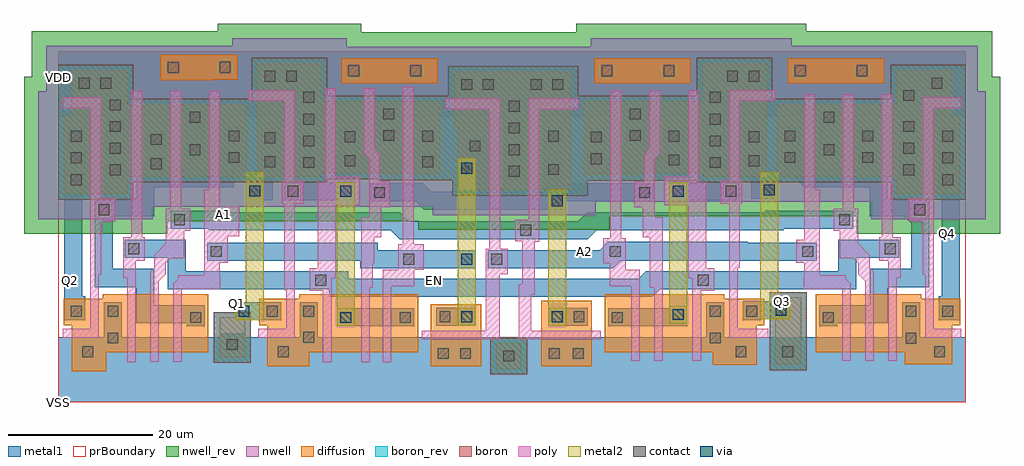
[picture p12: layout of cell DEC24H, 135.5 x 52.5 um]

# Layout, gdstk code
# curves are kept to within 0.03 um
import gdstk
lib = gdstk.Library(unit=1e-6, precision=1e-09)
def R(c, l, rs):  # rectangles x0, y0, x1, y1
    for r in rs: c.add(gdstk.rectangle(r[:2], r[2:], *l))
def A(c, l, x, y, w, h, nx, ny, dx, dy):  # array of equal rectangles
    R(c, l, [(x+i*dx, y+j*dy, x+i*dx+w, y+j*dy+h) for i in range(nx) for j in range(ny)])
def P(c, l, *ps):  # polygons
    for p in ps: c.add(gdstk.Polygon(p, *l))
nwell = (1, 0)
diffusion = (2, 0)
nwell_rev = (3, 0)
poly = (4, 0)
boron = (5, 0)
boron_rev = (6, 0)
contact = (7, 0)
metal1 = (8, 0)
via = (9, 0)
metal2 = (10, 0)
prBoundary = (28, 0)

dec24h = lib.new_cell('DEC24H')
P(dec24h, nwell, [(-2.75,25.4),(-2.75,43.15),(-1.65,43.15),(-1.65,49.5),(24.15,49.5),(24.15,50.5),(40.05,50.5),(40.05,49.35),(73.9,49.35),(73.9,50.5),(101.85,50.5),(101.85,49.5),(127.65,49.5),(127.65,43.15),(128.75,43.15),(128.75,25.4),(112.85,25.4),(112.85,27.8),(74.6,27.8),(74.6,25.95),(52,25.95),(52,27.1),(13.15,27.1),(13.15,25.4)])
R(dec24h, diffusion, [(60.8,4.65,64.3,8.15), (51.7,5,58.7,13.6), (67.05,5,74.05,14.1), (99.55,5.25,103.15,14.55), (22.4,6.25,25.95,11.75), (39.3,44.25,52.7,47.75), (74.45,44.25,87.85,47.75), (101.25,44.25,114.65,47.75)])
P(dec24h, diffusion, [(117.55,5.25),(117.55,6.95),(105.15,6.95),(105.15,14.95),(119.85,14.95),(119.85,14.35),(125.25,14.35),(125.25,10.65),(124.15,10.65),(124.15,5.25)],
  [(1.85,4.25),(1.85,10.65),(0.75,10.65),(0.75,14.35),(6.15,14.35),(6.15,14.95),(20.85,14.95),(20.85,6.95),(6.65,6.95),(6.65,4.25)],
  [(14.2,44.7),(14.2,48.2),(21.05,48.2),(21.05,48.25),(24.9,48.25),(24.9,44.75),(21.45,44.75),(21.45,44.7)],
  [(0.75,28.9),(0.75,39.65),(1.85,39.65),(1.85,46),(9.65,46),(9.65,41.3),(26.15,41.3),(26.15,31.3),(9.65,31.3),(9.65,28.9)],
  [(29,4.95),(29,10.65),(27.9,10.65),(27.9,14.35),(33.45,14.35),(33.45,14.95),(49.95,14.95),(49.95,6.95),(34.85,6.95),(34.85,4.95)],
  [(27.65,31.3),(27.65,47),(36.55,47),(36.55,41.75),(53.05,41.75),(53.05,31.6),(45.2,31.6),(45.2,31.75),(36.55,31.75),(36.55,31.3)],
  [(55.5,29.45),(55.5,38.25),(54.95,38.25),(54.95,45.85),(71.1,45.85),(71.1,29.45)],
  [(90.85,5.2),(90.85,6.95),(75.85,6.95),(75.85,14.95),(92.45,14.95),(92.45,14.35),(98.05,14.35),(98.05,10.65),(97,10.65),(97,5.2)],
  [(89.45,31.3),(89.45,31.75),(80.8,31.75),(80.8,31.55),(72.95,31.55),(72.95,41.75),(89.45,41.75),(89.45,47),(98.35,47),(98.35,31.3)],
  [(116.35,28.9),(116.35,31.3),(99.85,31.3),(99.85,41.3),(116.35,41.3),(116.35,46),(124.15,46),(124.15,39.65),(125.25,39.65),(125.25,28.9)])
P(dec24h, nwell_rev, [(-4.75,23.4),(-4.75,45.15),(-3.65,45.15),(-3.65,51.5),(22.15,51.5),(22.15,52.5),(42.05,52.5),(42.05,51.35),(71.9,51.35),(71.9,52.5),(103.85,52.5),(103.85,51.5),(129.65,51.5),(129.65,45.15),(130.75,45.15),(130.75,23.4),(110.85,23.4),(110.85,25.8),(76.6,25.8),(76.6,23.95),(50,23.95),(50,25.1),(15.15,25.1),(15.15,23.4)])
P(dec24h, poly, [(115.25,5.75),(115.25,19.65),(114,19.65),(114,22.85),(114.35,22.85),(114.35,42.75),(115.85,42.75),(115.85,22.85),(117,22.85),(117,17.25),(116.45,17.25),(116.45,5.75)],
  [(0.65,8.95),(0.65,10.15),(4.45,10.15),(4.45,40.8),(0.65,40.8),(0.65,42.3),(5.95,42.3),(5.95,28.3),(7.95,28.3),(7.95,25.1),(5.95,25.1),(5.95,17.65),(5.65,17.65),(5.65,8.95)],
  [(9.55,5.5),(9.55,17.25),(9,17.25),(9,22.85),(10.15,22.85),(10.15,43.25),(11.65,43.25),(11.65,22.85),(12,22.85),(12,19.65),(10.75,19.65),(10.75,5.5)],
  [(42.05,5.55),(42.05,25.65),(43.15,25.65),(43.15,33.765),(42.45,34.599),(42.45,43.55),(43.95,43.55),(43.95,35.15),(44.65,34.316),(44.65,30.65),(46.05,30.65),(46.05,27.05),(44.85,27.05),(44.85,22.85),(43.85,22.85),(43.85,19.3),(43.7,19.3),(43.7,15.85),(43.25,15.85),(43.25,5.55)],
  [(15.95,5.6),(15.95,16.45),(16.65,17.15),(16.65,17.6),(20.25,17.6),(20.25,29.45),(20.95,29.45),(20.95,43.25),(22.45,43.25),(22.45,27.15),(25.15,27.15),(25.15,23.05),(23.55,23.05),(23.55,19.35),(22.45,19.35),(22.5,15.75),(17.25,15.75),(17.15,15.65),(17.15,5.6)],
  [(27.75,8.95),(27.75,10.15),(31.65,10.15),(31.65,15.55),(31.35,15.55),(31.35,27.5),(31.1,27.5),(31.1,30.75),(31.35,30.75),(31.35,41.8),(26.45,41.8),(26.45,43.3),(32.85,43.3),(32.85,30.75),(34.1,30.75),(34.1,27.5),(32.85,27.5),(32.85,8.95)],
  [(36.75,5.55),(36.75,15.45),(34.95,15.45),(34.95,18.55),(36,18.55),(36,30.55),(37.05,30.55),(37.05,43.6),(38.55,43.6),(38.55,31.25),(41.85,31.25),(41.85,27.3),(38.55,27.3),(38.55,17.2),(37.95,17.2),(37.95,5.55)],
  [(82.75,5.75),(82.75,15.85),(82.15,15.85),(82.15,22.85),(81.15,22.85),(81.15,27.05),(79.95,27.05),(79.95,30.65),(81.35,30.65),(81.35,34.311),(82.05,35.145),(82.05,43.25),(83.55,43.25),(83.55,34.585),(82.85,33.751),(82.85,25.65),(83.95,25.65),(83.95,5.75)],
  [(45.05,5.55),(45.05,18.35),(47.2,18.35),(47.2,21.9),(47.85,21.9),(47.85,43.75),(49.35,43.75),(49.35,21.9),(50.75,21.9),(50.75,18.4),(49.4,18.4),(49.4,16.1),(46.25,16.1),(46.25,5.55)],
  [(50.5,8.7),(50.5,9.9),(59.35,9.9),(59.35,21.3),(59.85,21.3),(59.85,40.65),(53.75,40.65),(53.75,42.15),(61.35,42.15),(61.35,21.3),(62.4,21.3),(62.4,17.75),(61.3,17.75),(61.3,8.7)],
  [(63.95,8.7),(63.95,16.35),(64.45,16.35),(64.45,22.3),(63.45,22.3),(63.45,25.3),(65.3,25.3),(65.3,42.15),(72.3,42.15),(72.3,40.65),(66.8,40.65),(66.8,22.25),(66.15,22.25),(66.15,14.9),(65.65,14.9),(65.65,9.9),(75.3,9.9),(75.3,8.7)],
  [(79.55,5.75),(79.55,16.1),(76.6,16.1),(76.6,19.25),(75.65,19.25),(75.65,22.75),(76.65,22.75),(76.65,43.25),(78.15,43.25),(78.15,22.75),(78.8,22.75),(78.8,18.35),(80.75,18.35),(80.75,5.75)],
  [(120.35,8.95),(120.35,17.65),(120.05,17.65),(120.05,25.1),(118.05,25.1),(118.05,28.3),(120.05,28.3),(120.05,42.3),(125.35,42.3),(125.35,40.8),(121.55,40.8),(121.55,10.15),(125.35,10.15),(125.35,8.95)],
  [(88.05,5.75),(88.05,17.2),(87.45,17.2),(87.45,27.3),(84.15,27.3),(84.15,31.25),(87.45,31.25),(87.45,43.3),(88.95,43.3),(88.95,30.55),(90,30.55),(90,18.55),(91.05,18.55),(91.05,15.45),(89.25,15.45),(89.25,5.75)],
  [(93.15,8.95),(93.15,27.5),(91.9,27.5),(91.9,30.75),(93.15,30.75),(93.15,43.3),(99.55,43.3),(99.55,41.8),(94.65,41.8),(94.65,30.75),(94.9,30.75),(94.9,27.5),(94.65,27.5),(94.65,18.65),(94.35,18.65),(94.35,10.15),(98.6,10.15),(98.6,8.95)],
  [(108.85,5.75),(108.85,15.65),(108.75,15.75),(103.5,15.75),(103.55,19.35),(102.45,19.35),(102.45,22.55),(103.55,22.55),(103.55,42.75),(105.05,42.75),(105.05,29.45),(105.75,29.45),(105.75,17.6),(109.35,17.6),(109.35,17.15),(110.05,16.45),(110.05,5.75)],
  [(112.05,5.75),(112.05,16.798),(111.1,17.748),(111.1,19.3),(110.4,20),(108.5,20),(108.5,23.8),(107.65,23.8),(107.65,26.85),(108.95,26.85),(108.95,42.75),(110.45,42.75),(110.45,26.85),(111.05,26.85),(111.05,22.05),(112.7,20.4),(112.7,18.65),(113.25,18.1),(113.25,5.75)],
  [(12.75,5.6),(12.75,18.1),(13.3,18.65),(13.3,20.4),(14.95,22.05),(14.95,26.85),(15.55,26.85),(15.55,43.25),(17.05,43.25),(17.05,26.85),(18.35,26.85),(18.35,23.8),(17.5,23.8),(17.5,20),(15.6,20),(14.9,19.3),(14.9,17.748),(13.95,16.798),(13.95,5.6)])
R(dec24h, boron, [(60,3.85,65.1,8.95), (98.75,4.45,103.9,15.25), (21.6,5.45,26.75,12.5)])
P(dec24h, boron, [(0,28.1),(0,46.8),(10.45,46.8),(10.45,42.1),(26.85,42.1),(26.85,47.8),(37.35,47.8),(37.35,42.55),(54.15,42.55),(54.15,46.65),(72.2,46.65),(72.2,42.55),(88.65,42.55),(88.65,47.8),(99.15,47.8),(99.15,42.1),(115.55,42.1),(115.55,46.8),(126,46.8),(126,28.1),(115.55,28.1),(115.55,30.5),(88.65,30.5),(88.65,30.75),(73.55,30.75),(73.55,28.65),(54.7,28.65),(54.7,30.8),(44.4,30.8),(44.4,30.95),(37.35,30.95),(37.35,30.5),(10.45,30.5),(10.45,28.1)])
R(dec24h, boron_rev, [(60,3.85,65.1,8.95), (98.75,4.45,103.9,15.25), (21.6,5.45,26.75,12.5)])
P(dec24h, boron_rev, [(0,28.1),(0,46.8),(10.45,46.8),(10.45,42.1),(26.85,42.1),(26.85,47.8),(37.35,47.8),(37.35,42.55),(54.15,42.55),(54.15,46.65),(72.2,46.65),(72.2,42.55),(88.65,42.55),(88.65,47.8),(99.15,47.8),(99.15,42.1),(115.55,42.1),(115.55,46.8),(126,46.8),(126,28.1),(115.55,28.1),(115.55,30.5),(88.65,30.5),(88.65,30.75),(73.55,30.75),(73.55,28.65),(54.7,28.65),(54.7,30.8),(44.4,30.8),(44.4,30.95),(37.35,30.95),(37.35,30.5),(10.45,30.5),(10.45,28.1)])
A(dec24h, contact, 62.55, 31.3, 1.5, 1.5, 1, 4, 0, 3)
A(dec24h, contact, 7.15, 31.5, 1.5, 1.5, 1, 4, 0, 3)
A(dec24h, contact, 117.35, 31.5, 1.5, 1.5, 1, 3, 0, 3)
A(dec24h, contact, 34.05, 32.5, 1.5, 1.5, 1, 3, 0, 3)
A(dec24h, contact, 90.45, 32.5, 1.5, 1.5, 1, 3, 0, 3)
R(dec24h, contact, [(61.8,5.65,63.3,7.15), (52.7,6,54.2,7.5), (55.8,6,57.3,7.5), (68.1,6,69.6,7.5), (71.45,6,72.95,7.5), (3.35,6.25,4.85,7.75), (30.5,6.25,32,7.75), (94.05,6.25,95.55,7.75), (100.55,6.25,102.05,7.75), (121.6,6.25,123.1,7.75), (23.4,7.25,24.9,8.75), (117.65,8.1,119.15,9.6), (6.85,8.15,8.35,9.65), (90.45,8.15,91.95,9.65), (34.05,8.25,35.55,9.75), (18.35,11,19.85,12.5), (47.45,11,48.95,12.5), (76.85,11,78.35,12.5), (106.15,11,107.65,12.5), (52.95,11.1,54.45,12.6), (71.55,11.1,73.05,12.6), (1.75,11.85,3.25,13.35), (6.85,11.85,8.35,13.35), (28.95,11.85,30.45,13.35), (34.05,11.85,35.55,13.35), (90.45,11.85,91.95,13.35), (95.55,11.85,97.05,13.35), (117.65,11.85,119.15,13.35), (122.75,11.85,124.25,13.35), (35.7,16.15,37.2,17.65), (88.8,16.15,90.3,17.65), (47.9,19.1,49.4,20.6), (60.15,19.1,61.65,20.6), (21.2,20.15,22.7,21.65), (76.6,20.15,78.1,21.65), (103.3,20.15,104.8,21.65), (9.75,20.55,11.25,22.05), (114.75,20.55,116.25,22.05), (64.15,23.1,65.65,24.6), (16.1,24.55,17.6,26.05), (108.4,24.55,109.9,26.05), (5.6,25.95,7.1,27.45), (118.85,25.95,120.35,27.45), (43.85,28.35,45.35,29.85), (80.65,28.35,82.15,29.85), (31.85,28.5,33.35,30), (92.65,28.5,94.15,30), (1.75,30.1,3.25,31.6), (122.75,30.1,124.25,31.6), (68,31.55,69.5,33.05), (12.85,32.35,14.35,33.85), (28.65,32.6,30.15,34.1), (50.55,32.6,52.05,34.1), (39.75,32.75,41.25,34.25), (95.85,32.75,97.35,34.25), (84.75,32.85,86.25,34.35), (73.95,33.05,75.45,34.55), (1.75,33.15,3.25,34.65), (122.75,33.15,124.25,34.65), (23.65,33.2,25.15,34.7), (100.85,33.2,102.35,34.7), (111.65,33.2,113.15,34.7), (18.25,34.3,19.75,35.8), (106.25,34.3,107.75,35.8), (57.1,34.8,58.6,36.3), (12.85,35.7,14.35,37.2), (28.65,35.95,30.15,37.45), (73.95,36.05,75.45,37.55), (39.75,36.1,41.25,37.6), (95.85,36.1,97.35,37.6), (1.75,36.15,3.25,37.65), (50.55,36.15,52.05,37.65), (68,36.15,69.5,37.65), (84.75,36.15,86.25,37.65), (122.75,36.15,124.25,37.65), (23.65,36.2,25.15,37.7), (100.85,36.2,102.35,37.7), (111.65,36.2,113.15,37.7), (45.15,36.25,46.65,37.75), (79.35,36.25,80.85,37.75), (18.25,38.8,19.75,40.3), (106.25,38.8,107.75,40.3), (45.15,39.25,46.65,40.75), (79.35,39.25,80.85,40.75), (34.05,41.55,35.55,43.05), (90.45,41.55,91.95,43.05), (117.35,41.8,118.85,43.3), (55.95,43.35,57.45,44.85), (58.95,43.35,60.45,44.85), (65.6,43.35,67.1,44.85), (68.6,43.35,70.1,44.85), (2.85,43.5,4.35,45), (5.85,43.5,7.35,45), (121.25,43.5,122.75,45), (28.65,44.5,30.15,46), (31.65,44.5,33.15,46), (92.85,44.5,94.35,46), (95.85,44.5,97.35,46), (40.3,45.25,41.8,46.75), (48.9,45.25,50.4,46.75), (75.45,45.25,76.95,46.75), (84.05,45.25,85.55,46.75), (102.25,45.25,103.75,46.75), (110.85,45.25,112.35,46.75), (15.2,45.7,16.7,47.2), (22.4,45.75,23.9,47.25)])
R(dec24h, metal1, [(0,0,126,9), (38.65,10.5,49.45,13), (52.45,10.6,57.95,13.1), (68.05,10.6,73.55,13.1), (24.55,11.35,30.95,13.85), (0.85,16.8,3.35,19.3), (122.65,21,125.15,23.5), (0,39.7,126,48.7)])
P(dec24h, metal1, [(0,0),(0,9),(6.35,9),(6.35,13.85),(8.85,13.85),(8.85,9),(22.6,9),(22.6,9.55),(25.7,9.55),(25.7,9),(33.55,9),(33.55,13.85),(36.05,13.85),(36.05,9),(89.95,9),(89.95,13.85),(92.45,13.85),(92.45,9),(117.15,9),(117.15,13.85),(119.65,13.85),(119.65,9),(126,9),(126,0)],
  [(105.65,10.5),(105.65,13.45),(112.7,13.45),(112.7,18.5),(118.4,18.5),(118.4,24.849),(117.449,25.8),(112.65,25.8),(112.65,29.8),(103.6,29.8),(100.8,32.6),(100.35,32.6),(100.35,38.2),(102.85,38.2),(102.85,34.45),(105,32.3),(111.15,32.3),(111.15,38.2),(113.65,38.2),(113.65,32.35),(115.15,32.35),(115.15,28.3),(120.9,28.3),(120.9,15.95),(115.2,15.95),(115.2,10.95),(108.15,10.95),(108.15,10.5)],
  [(50.85,26.7),(49.714,27.85),(43.35,27.85),(43.35,30.35),(50.75,30.35),(51.9,29.2),(67.5,29.2),(67.5,38.15),(70,38.15),(70,30.35),(82.65,30.35),(82.65,27.85),(70.55,27.85),(70.55,26.7)],
  [(47.414,22.6),(46.164,23.85),(20.9,23.85),(20.9,24.05),(15.6,24.05),(15.6,26.55),(23.5,26.55),(23.5,26.35),(47.4,26.35),(48.65,25.1),(72.2,25.1),(73.45,26.35),(98.15,26.35),(98.15,26.55),(110.4,26.55),(110.4,24.05),(100.75,24.05),(100.75,23.85),(74.8,23.85),(73.55,22.6)],
  [(62.05,30.8),(62.05,39.7),(47.15,39.7),(47.15,35.75),(44.65,35.75),(44.65,39.7),(36.05,39.7),(36.05,32),(33.55,32),(33.55,39.7),(20.25,39.7),(20.25,33.8),(17.75,33.8),(17.75,39.7),(9.15,39.7),(9.15,31),(6.65,31),(6.65,39.7),(0,39.7),(0,48.7),(126,48.7),(126,39.7),(119.35,39.7),(119.35,31),(116.85,31),(116.85,39.7),(108.25,39.7),(108.25,33.8),(105.75,33.8),(105.75,39.7),(92.45,39.7),(92.45,32),(89.95,32),(89.95,39.7),(81.35,39.7),(81.35,35.75),(78.85,35.75),(78.85,39.7),(64.65,39.7),(64.65,30.8)],
  [(0.85,11.35),(0.85,33.95),(1.25,33.95),(1.25,38.15),(3.75,38.15),(3.75,29.5),(3.35,29.5),(3.35,14.7),(3.75,14.7),(3.75,11.35)],
  [(17.85,10.5),(17.85,10.95),(10.8,10.95),(10.8,15.95),(5.1,15.95),(5.1,28.3),(10.85,28.3),(10.85,32.3),(12.35,32.3),(12.35,37.7),(14.85,37.7),(14.85,32.3),(21.85,32.3),(21.85,35.2),(23.15,35.2),(23.15,38.2),(25.65,38.2),(25.65,32.7),(24.35,32.7),(24.35,29.8),(13.35,29.8),(13.35,25.8),(7.6,25.8),(7.6,18.5),(13.3,18.5),(13.3,13.45),(20.35,13.45),(20.35,10.5)],
  [(26.05,28.05),(26.05,30.75),(27.65,32.35),(27.65,33.399),(28.15,33.899),(28.15,37.95),(30.65,37.95),(30.65,31.998),(29.75,31.098),(29.75,28.05)],
  [(31.35,28),(31.35,30.5),(38.3,30.5),(38.3,34.5),(39.25,34.5),(39.25,38.1),(41.75,38.1),(41.75,34.25),(50.05,34.25),(50.05,38.15),(52.55,38.15),(52.55,31.85),(41.15,31.85),(41.15,28)],
  [(41.9,18.6),(41.9,19.65),(20.7,19.65),(20.7,22.15),(44.35,22.15),(44.35,21.1),(57.95,21.1),(57.95,18.6)],
  [(55.45,31.2),(55.45,33.7),(56.6,33.7),(56.6,36.8),(59.1,36.8),(59.1,31.2)],
  [(76.35,10.5),(76.35,13),(84.85,13),(84.85,13.4),(87.35,13.4),(87.35,10.5)],
  [(84.85,28),(84.85,31.85),(73.45,31.85),(73.45,38.05),(75.95,38.05),(75.95,34.25),(84.25,34.25),(84.25,38.15),(86.75,38.15),(86.75,34.55),(87.65,34.55),(87.65,30.5),(94.65,30.5),(94.65,28)],
  [(96.25,28.2),(96.25,31.048),(95.35,31.948),(95.35,38.1),(97.85,38.1),(97.85,34.049),(98.35,33.549),(98.35,32.3),(99.95,30.7),(99.95,28.2)],
  [(59.65,18.6),(59.65,21.1),(75.15,21.1),(76.3,22.25),(95.75,22.25),(95.75,22.15),(105.3,22.15),(105.3,19.65),(78.1,19.65),(77.05,18.6)],
  [(95.05,11.35),(95.05,14),(101.6,14),(101.6,11.5),(97.55,11.5),(97.55,11.35)],
  [(122.25,11.35),(122.25,14.7),(122.65,14.7),(122.65,29.55),(122.25,29.55),(122.25,38.15),(125.15,38.15),(125.15,11.35)],
  [(37.65,14.6),(37.65,15.65),(15.2,15.65),(15.2,20.05),(9.25,20.05),(9.25,22.55),(17.7,22.55),(17.7,18.15),(40.3,18.15),(40.3,17.1),(80.551,17.1),(81.601,18.15),(108.3,18.15),(108.3,22.55),(116.75,22.55),(116.75,20.05),(110.8,20.05),(110.8,15.65),(83.45,15.65),(83.45,15.551),(82.499,14.6)])
R(dec24h, via, [(39.15,11,40.65,12.5), (55.95,11.1,57.45,12.6), (68.55,11.1,70.05,12.6), (85.35,11.4,86.85,12.9), (25.05,11.85,26.55,13.35), (99.6,12,101.1,13.5), (55.95,19.1,57.45,20.6), (68.55,27.2,70.05,28.7), (39.15,28.5,40.65,30), (85.35,28.5,86.85,30), (26.55,28.55,28.05,30.05), (97.95,28.7,99.45,30.2), (55.95,31.7,57.45,33.2)])
R(dec24h, metal2, [(38.65,10.5,41.15,30.5), (68.05,10.55,70.55,29.5), (55.45,10.6,57.95,33.85), (84.85,10.9,87.35,30.5)])
P(dec24h, metal2, [(24.55,11.35),(24.55,13.85),(26.05,13.85),(26.05,31.9),(28.55,31.9),(28.55,11.35),(26.05,11.35)],
  [(97.45,11.5),(97.45,31.9),(99.95,31.9),(99.95,14),(101.6,14),(101.6,11.5),(99.95,11.5)])
R(dec24h, prBoundary, [(0,0,126,48.7)])
dec24h.add(gdstk.Label('VSS', (0.001,0.001), layer=8, texttype=7))
dec24h.add(gdstk.Label('VDD', (0.002,45), layer=8, texttype=7))
dec24h.add(gdstk.Label('A2', (73.056,20.846), layer=8, texttype=7))
dec24h.add(gdstk.Label('EN', (52.192,16.941), layer=8, texttype=7))
dec24h.add(gdstk.Label('Q2', (1.75,16.915), layer=8, texttype=7))
dec24h.add(gdstk.Label('A1', (23,26.05), layer=8, texttype=7))
dec24h.add(gdstk.Label('Q1', (24.85,13.7), layer=8, texttype=7))
dec24h.add(gdstk.Label('Q4', (123.45,23.4), layer=8, texttype=7))
dec24h.add(gdstk.Label('Q3', (100.5,13.9), layer=8, texttype=7))

lib.write_gds('DEC24H.gds')
